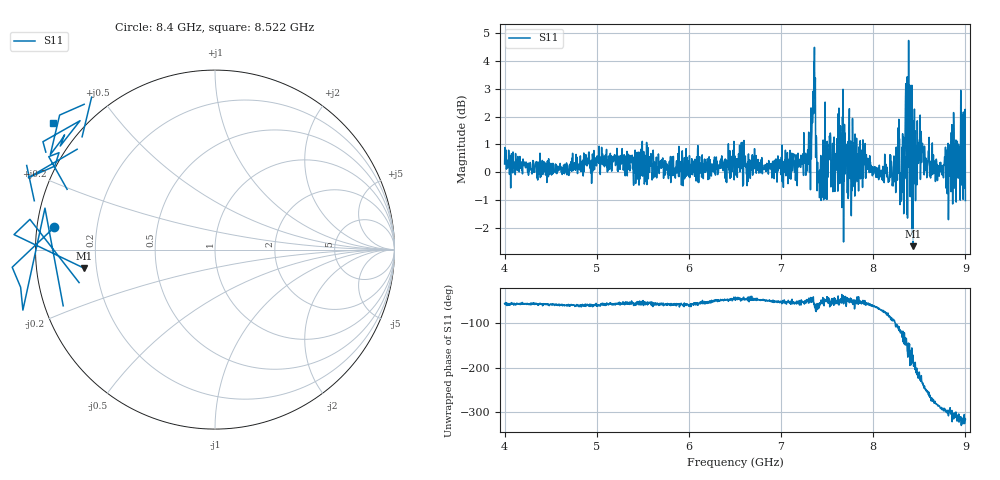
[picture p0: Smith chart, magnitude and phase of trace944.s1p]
! Created with skrf 1.8.0 (http://scikit-rf.org).
# Hz S RI R 50.0
!freq ReS11 ImS11
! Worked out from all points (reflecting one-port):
!   1601 points, 4 GHz to 9 GHz, reference 50 ohm
!   lowest |S11| = -2.6 dB at 8.431 GHz (marker M1), VSWR 6.62, Z = 7.59 - j3.44 ohm
!   phase of S11 starts at -56 deg and turns -260 deg over the sweep
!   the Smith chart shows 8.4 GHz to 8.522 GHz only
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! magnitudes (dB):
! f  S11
! 4 GHz  0.3
! 4.625 GHz  -0.1
! 5.25 GHz  0.3
! 5.875 GHz  0.2
! 6.5 GHz  0.6
! 7.125 GHz  0.4
! 7.294 GHz  0.3
! 7.328 GHz  0.5
! 7.347 GHz  2.9
! 7.372 GHz  3.4
! 7.4 GHz  -0.2
! 7.425 GHz  -0.2
! 7.65 GHz  1.0
! 7.688 GHz  1.7
! 7.703 GHz  0.5
! 7.75 GHz  0.5
! 8.191 GHz  -0.1
! 8.262 GHz  -0.3
! 8.312 GHz  0.9
! 8.331 GHz  -1.5
! 8.375 GHz  2.3
! 8.394 GHz  0.2
! 8.412 GHz  -0.2
! 8.431 GHz  -2.6
! 8.525 GHz  0.4
! 8.812 GHz  1.0
! 8.972 GHz  0.8
! 9 GHz  -1.0
